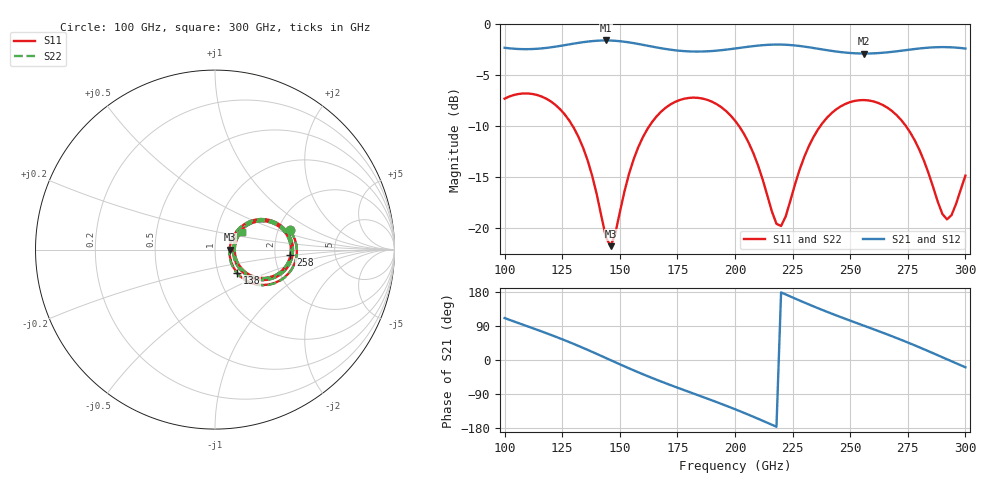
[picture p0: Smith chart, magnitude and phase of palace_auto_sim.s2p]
#  GHZ S DB R 50
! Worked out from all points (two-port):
!   101 points, 100 GHz to 300 GHz, reference 50 ohm
!   highest |S21| = -1.61 dB at 144 GHz (marker M1); lowest = -2.9 dB at 256 GHz (marker M2)
!   |S21| within 3 dB of the highest: start of sweep to end of sweep
!   lowest |S11| = -21.8 dB at 146 GHz (marker M3), VSWR 1.18, Z = 58.8 - j0.0294 ohm
!   |S11| at or under -10 dB: 129.5 GHz to 162.9 GHz (33.42 GHz wide, 22.9 % of centre); 201.7 GHz to 237.1 GHz (35.46 GHz wide, 16.2 % of centre); 274.1 GHz to end of sweep
!   |S22| runs from -22.0 to -6.8 dB; largest |S21 - S12| = 8.9e-14
!   S11 on the Smith chart (normalised r, x): 100 GHz: 2.31, +0.62; 138 GHz: 1.23, -0.33; 258 GHz: 2.44, -0.19; 300 GHz: 1.32, +0.27
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100  -7.33 14.7  -2.33 110.7  -2.33 110.7  -7.32 14.4
118  -7.32 -18.0  -2.34 71.0  -2.34 71.0  -7.32 -18.4
126  -8.85 -32.5  -2.08 52.3  -2.08 52.3  -8.86 -32.9
134  -12.11 -44.5  -1.78 32.1  -1.78 32.1  -12.13 -45.1
138  -14.90 -46.4  -1.67 21.5  -1.67 21.5  -14.94 -47.2
144  -20.96 -23.2  -1.61 5.1  -1.61 5.1  -21.14 -24.0
146  -21.82 -0.2  -1.62 -0.4  -1.62 -0.4  -22.05 -0.3
156  -13.29 40.9  -1.87 -27.2  -1.87 -27.2  -13.32 41.1
168  -8.59 24.1  -2.38 -56.9  -2.38 -56.9  -8.60 24.1
184  -7.25 -3.7  -2.70 -93.0  -2.70 -93.0  -7.26 -3.8
200  -9.48 -30.1  -2.40 -129.9  -2.40 -129.9  -9.49 -30.4
212  -15.27 -38.0  -2.08 -160.2  -2.08 -160.2  -15.30 -38.3
218  -19.63 -12.4  -2.01 -176.2  -2.01 -176.2  -19.70 -12.6
220  -19.84 4.7  -2.02 178.4  -2.02 178.4  -19.92 4.6
234  -11.12 34.0  -2.35 141.7  -2.35 141.7  -11.13 34.0
244  -8.37 19.3  -2.70 117.6  -2.70 117.6  -8.37 19.2
256  -7.47 -1.0  -2.90 90.4  -2.90 90.4  -7.47 -1.1
258  -7.50 -4.3  -2.89 85.9  -2.89 85.9  -7.51 -4.5
268  -8.52 -21.0  -2.73 63.0  -2.73 63.0  -8.52 -21.1
282  -13.42 -36.5  -2.35 28.4  -2.35 28.4  -13.43 -36.8
292  -19.19 -1.6  -2.27 1.9  -2.27 1.9  -19.25 -1.8
300  -14.89 33.9  -2.40 -19.1  -2.40 -19.1  -14.92 33.9
